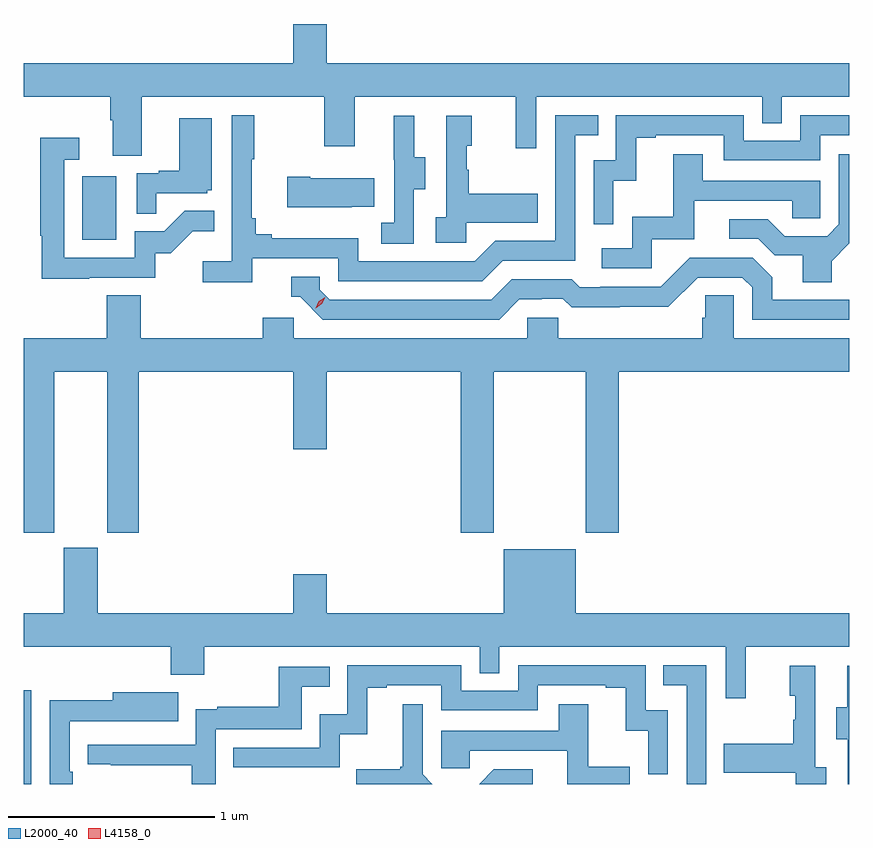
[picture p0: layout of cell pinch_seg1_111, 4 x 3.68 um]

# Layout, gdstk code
import gdstk
lib = gdstk.Library(unit=1e-6, precision=1e-09)
def R(c, l, rs):  # rectangles x0, y0, x1, y1
    for r in rs: c.add(gdstk.rectangle(r[:2], r[2:], *l))
def P(c, l, *ps):  # polygons
    for p in ps: c.add(gdstk.Polygon(p, *l))
L2000_40 = (2000, 40)
L4158_0 = (4158, 0)

pinch_seg1_111 = lib.new_cell('pinch_seg1_111')
R(pinch_seg1_111, L2000_40, [(1062.803,560.392,1062.841,560.845), (1063.088,563.028,1063.252,563.335)])
P(pinch_seg1_111, L2000_40, [(1063.375,563.72),(1064.26,563.72),(1064.26,563.481),(1064.407,563.481),(1064.407,563.72),(1065.188,563.72),(1065.188,563.472),(1065.285,563.472),(1065.285,563.72),(1066.38,563.72),(1066.38,563.593),(1066.476,563.593),(1066.476,563.72),(1066.803,563.72),(1066.803,563.884),(1064.272,563.884),(1064.272,564.073),(1064.108,564.073),(1064.108,563.884),(1062.803,563.884),(1062.803,563.72),(1063.223,563.72),(1063.223,563.608),(1063.235,563.608),(1063.235,563.434),(1063.375,563.434)],
  [(1063.91,562.938),(1064.328,562.938),(1064.328,562.827),(1065.025,562.827),(1065.124,562.926),(1065.474,562.926),(1065.474,563.535),(1065.587,563.535),(1065.587,563.631),(1065.378,563.631),(1065.378,563.022),(1065.087,563.022),(1064.988,562.923),(1064.424,562.923),(1064.424,563.035),(1064.005,563.035),(1064.005,563.054),(1063.928,563.054),(1063.928,563.131),(1063.909,563.131),(1063.909,563.419),(1063.921,563.419),(1063.921,563.632),(1063.812,563.632),(1063.812,562.924),(1063.671,562.924),(1063.671,562.822),(1063.91,562.822)],
  [(1065.66,563.315),(1065.77,563.315),(1065.77,563.523),(1065.865,563.523),(1065.865,563.535),(1066.194,563.535),(1066.194,563.412),(1066.662,563.412),(1066.662,563.535),(1066.803,563.535),(1066.803,563.631),(1066.566,563.631),(1066.566,563.508),(1066.29,563.508),(1066.29,563.631),(1065.672,563.631),(1065.672,563.412),(1065.564,563.412),(1065.564,563.103),(1065.66,563.103)],
  [(1064.694,563.272),(1064.749,563.272),(1064.749,563.427),(1064.695,563.427),(1064.695,563.629),(1064.597,563.629),(1064.597,563.415),(1064.598,563.415),(1064.598,563.111),(1064.535,563.111),(1064.535,563.008),(1064.694,563.008)],
  [(1064.946,563.111),(1065.293,563.111),(1065.293,563.251),(1064.959,563.251),(1064.959,563.366),(1064.949,563.366),(1064.949,563.484),(1064.974,563.484),(1064.974,563.629),(1064.85,563.629),(1064.85,563.138),(1064.799,563.138),(1064.799,563.013),(1064.946,563.013)],
  [(1063.445,563.253),(1063.692,563.253),(1063.692,563.268),(1063.714,563.268),(1063.714,563.617),(1063.556,563.617),(1063.556,563.362),(1063.457,563.362),(1063.457,563.349),(1063.35,563.349),(1063.35,563.155),(1063.445,563.155)],
  [(1063.121,562.845),(1063.44,562.845),(1063.44,562.962),(1063.516,562.962),(1063.623,563.069),(1063.727,563.069),(1063.727,563.168),(1063.583,563.168),(1063.485,563.07),(1063.341,563.07),(1063.341,562.941),(1062.999,562.941),(1062.999,563.415),(1063.072,563.415),(1063.072,563.521),(1062.883,563.521),(1062.883,563.048),(1062.891,563.048),(1062.891,562.84),(1063.121,562.84)],
  [(1065.846,563.031),(1066.051,563.031),(1066.051,563.217),(1066.525,563.217),(1066.525,563.133),(1066.662,563.133),(1066.662,563.313),(1066.093,563.313),(1066.093,563.443),(1065.949,563.443),(1065.949,563.14),(1065.75,563.14),(1065.75,562.986),(1065.603,562.986),(1065.603,562.89),(1065.846,562.89)],
  [(1066.717,562.924),(1066.803,563.01),(1066.803,563.443),(1066.752,563.443),(1066.752,563.103),(1066.695,563.046),(1066.489,563.046),(1066.408,563.127),(1066.221,563.127),(1066.221,563.034),(1066.362,563.034),(1066.442,562.954),(1066.577,562.954),(1066.577,562.822),(1066.717,562.822)],
  [(1064.393,563.189),(1064.501,563.189),(1064.501,563.326),(1064.191,563.326),(1064.191,563.334),(1064.079,563.334),(1064.079,563.186),(1064.393,563.186)],
  [(1065.205,562.74),(1065.312,562.74),(1065.312,562.743),(1065.415,562.743),(1065.457,562.701),(1065.69,562.701),(1065.69,562.703),(1065.926,562.703),(1066.068,562.845),(1066.284,562.845),(1066.332,562.797),(1066.332,562.641),(1066.803,562.641),(1066.803,562.737),(1066.429,562.737),(1066.429,562.847),(1066.335,562.941),(1066.029,562.941),(1065.888,562.8),(1065.595,562.8),(1065.595,562.797),(1065.496,562.797),(1065.457,562.836),(1065.168,562.836),(1065.069,562.737),(1064.286,562.737),(1064.238,562.785),(1064.238,562.848),(1064.099,562.848),(1064.099,562.752),(1064.142,562.752),(1064.253,562.641),(1065.106,562.641)],
  [(1062.952,562.388),(1063.208,562.388),(1063.208,561.609),(1063.361,561.609),(1063.361,562.388),(1064.108,562.388),(1064.108,562.014),(1064.272,562.014),(1064.272,562.388),(1064.921,562.388),(1064.921,561.609),(1065.081,561.609),(1065.081,562.388),(1065.526,562.388),(1065.526,561.609),(1065.686,561.609),(1065.686,562.388),(1066.803,562.388),(1066.803,562.552),(1066.242,562.552),(1066.242,562.76),(1066.105,562.76),(1066.105,562.65),(1066.091,562.65),(1066.091,562.552),(1065.393,562.552),(1065.393,562.65),(1065.243,562.65),(1065.243,562.552),(1064.112,562.552),(1064.112,562.65),(1063.961,562.65),(1063.961,562.552),(1063.37,562.552),(1063.37,562.76),(1063.205,562.76),(1063.205,562.552),(1062.803,562.552),(1062.803,561.609),(1062.952,561.609)],
  [(1066.301,561.056),(1066.803,561.056),(1066.803,561.22),(1065.478,561.22),(1065.478,561.529),(1065.128,561.529),(1065.128,561.22),(1064.272,561.22),(1064.272,561.409),(1064.108,561.409),(1064.108,561.22),(1063.162,561.22),(1063.162,561.537),(1062.998,561.537),(1062.998,561.22),(1062.803,561.22),(1062.803,561.056),(1063.517,561.056),(1063.517,560.921),(1063.677,560.921),(1063.677,561.056),(1065.012,561.056),(1065.012,560.929),(1065.108,560.929),(1065.108,561.056),(1066.203,561.056),(1066.203,560.808),(1066.301,560.808)],
  [(1066.11,560.967),(1065.901,560.967),(1065.901,560.871),(1066.014,560.871),(1066.014,560.392),(1066.11,560.392)],
  [(1065.924,560.748),(1065.816,560.748),(1065.816,560.967),(1065.198,560.967),(1065.198,560.844),(1064.922,560.844),(1064.922,560.967),(1064.37,560.967),(1064.37,560.731),(1064.238,560.731),(1064.238,560.568),(1063.819,560.568),(1063.819,560.472),(1064.334,560.472),(1064.334,560.633),(1064.467,560.633),(1064.467,560.859),(1064.563,560.859),(1064.563,560.871),(1064.826,560.871),(1064.826,560.748),(1065.294,560.748),(1065.294,560.871),(1065.623,560.871),(1065.623,560.859),(1065.719,560.859),(1065.719,560.651),(1065.828,560.651),(1065.828,560.439),(1065.924,560.439)],
  [(1066.69,560.474),(1066.638,560.474),(1066.638,560.965),(1066.514,560.965),(1066.514,560.82),(1066.54,560.82),(1066.54,560.702),(1066.53,560.702),(1066.53,560.587),(1066.195,560.587),(1066.195,560.447),(1066.542,560.447),(1066.542,560.392),(1066.69,560.392)],
  [(1066.803,560.965),(1066.793,560.965),(1066.793,560.763),(1066.739,560.763),(1066.739,560.608),(1066.794,560.608),(1066.794,560.392),(1066.803,560.392)],
  [(1063.734,560.658),(1064.151,560.658),(1064.151,560.864),(1064.285,560.864),(1064.285,560.961),(1064.04,560.961),(1064.04,560.767),(1063.741,560.767),(1063.741,560.755),(1063.638,560.755),(1063.638,560.583),(1063.113,560.583),(1063.113,560.487),(1063.225,560.487),(1063.225,560.482),(1063.618,560.482),(1063.618,560.392),(1063.734,560.392)],
  [(1063.04,560.452),(1063.026,560.452),(1063.026,560.697),(1063.339,560.697),(1063.339,560.696),(1063.553,560.696),(1063.553,560.836),(1063.235,560.836),(1063.235,560.798),(1062.93,560.798),(1062.93,560.392),(1063.04,560.392)],
  [(1065.738,560.476),(1065.539,560.476),(1065.539,560.779),(1065.395,560.779),(1065.395,560.649),(1064.826,560.649),(1064.826,560.469),(1064.963,560.469),(1064.963,560.553),(1065.437,560.553),(1065.437,560.392),(1065.738,560.392)],
  [(1064.736,560.439),(1064.736,560.779),(1064.639,560.779),(1064.639,560.476),(1064.628,560.476),(1064.628,560.464),(1064.415,560.464),(1064.415,560.392),(1064.783,560.392)],
  [(1065.268,560.463),(1065.08,560.463),(1065.009,560.392),(1065.268,560.392)])
P(pinch_seg1_111, L4158_0, [(1064.217,562.697),(1064.217,562.697),(1064.232,562.73),(1064.263,562.75),(1064.263,562.75),(1064.263,562.749),(1064.247,562.717),(1064.217,562.697)])

lib.write_gds('pinch_seg1_111.gds')
